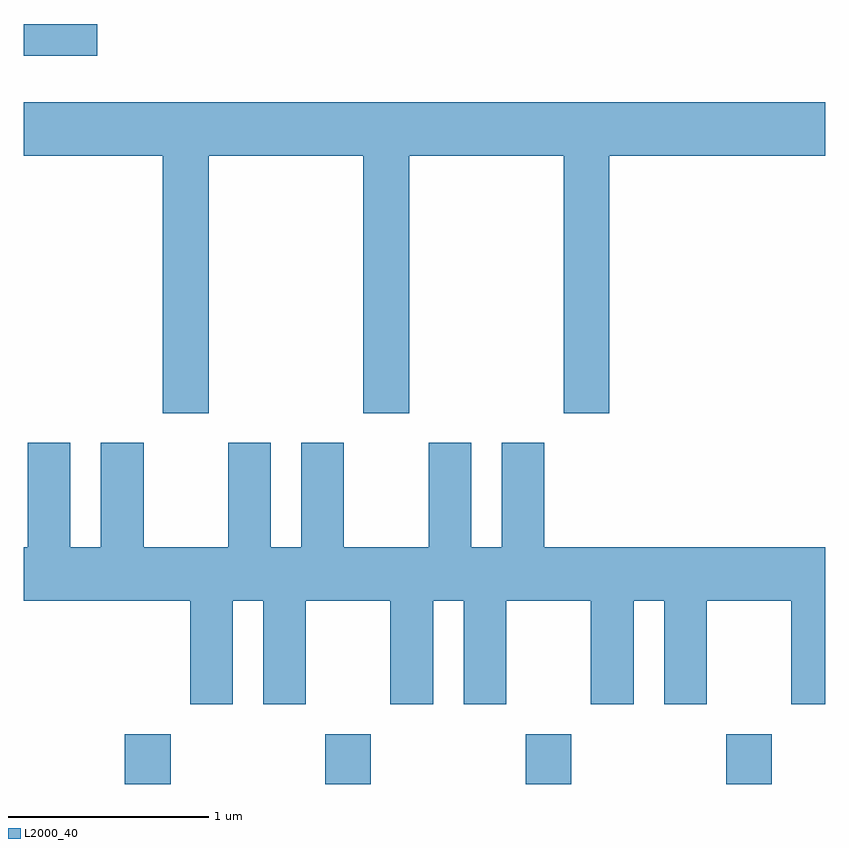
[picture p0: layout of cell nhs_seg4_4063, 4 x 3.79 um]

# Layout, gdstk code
import gdstk
lib = gdstk.Library(unit=1e-6, precision=1e-09)
def R(c, l, rs):  # rectangles x0, y0, x1, y1
    for r in rs: c.add(gdstk.rectangle(r[:2], r[2:], *l))
def A(c, l, x, y, w, h, nx, ny, dx, dy):  # array of equal rectangles
    R(c, l, [(x+i*dx, y+j*dy, x+i*dx+w, y+j*dy+h) for i in range(nx) for j in range(ny)])
def P(c, l, *ps):  # polygons
    for p in ps: c.add(gdstk.Polygon(p, *l))
L2000_40 = (2000, 40)

nhs_seg4_4063 = lib.new_cell('nhs_seg4_4063')
A(nhs_seg4_4063, L2000_40, 304.116, 1355.982, 0.228, 0.247, 4, 1, 1, 0)
R(nhs_seg4_4063, L2000_40, [(303.611,1359.616,303.978,1359.774)])
P(nhs_seg4_4063, L2000_40, [(304.534,1359.116),(305.306,1359.116),(305.306,1357.831),(305.534,1357.831),(305.534,1359.116),(306.306,1359.116),(306.306,1357.831),(306.534,1357.831),(306.534,1359.116),(307.611,1359.116),(307.611,1359.384),(303.611,1359.384),(303.611,1359.116),(304.306,1359.116),(304.306,1357.831),(304.534,1357.831)],
  [(304.654,1356.896),(304.806,1356.896),(304.806,1356.381),(305.019,1356.381),(305.019,1356.896),(305.441,1356.896),(305.441,1356.381),(305.654,1356.381),(305.654,1356.896),(305.806,1356.896),(305.806,1356.381),(306.019,1356.381),(306.019,1356.896),(306.441,1356.896),(306.441,1356.381),(306.654,1356.381),(306.654,1356.896),(306.806,1356.896),(306.806,1356.381),(307.019,1356.381),(307.019,1356.896),(307.441,1356.896),(307.441,1356.381),(307.611,1356.381),(307.611,1357.164),(306.209,1357.164),(306.209,1357.684),(305.996,1357.684),(305.996,1357.164),(305.844,1357.164),(305.844,1357.684),(305.631,1357.684),(305.631,1357.164),(305.209,1357.164),(305.209,1357.684),(304.996,1357.684),(304.996,1357.164),(304.844,1357.164),(304.844,1357.684),(304.631,1357.684),(304.631,1357.164),(304.209,1357.164),(304.209,1357.684),(303.996,1357.684),(303.996,1357.164),(303.844,1357.164),(303.844,1357.684),(303.631,1357.684),(303.631,1357.164),(303.611,1357.164),(303.611,1356.896),(304.441,1356.896),(304.441,1356.381),(304.654,1356.381)])

lib.write_gds('nhs_seg4_4063.gds')
